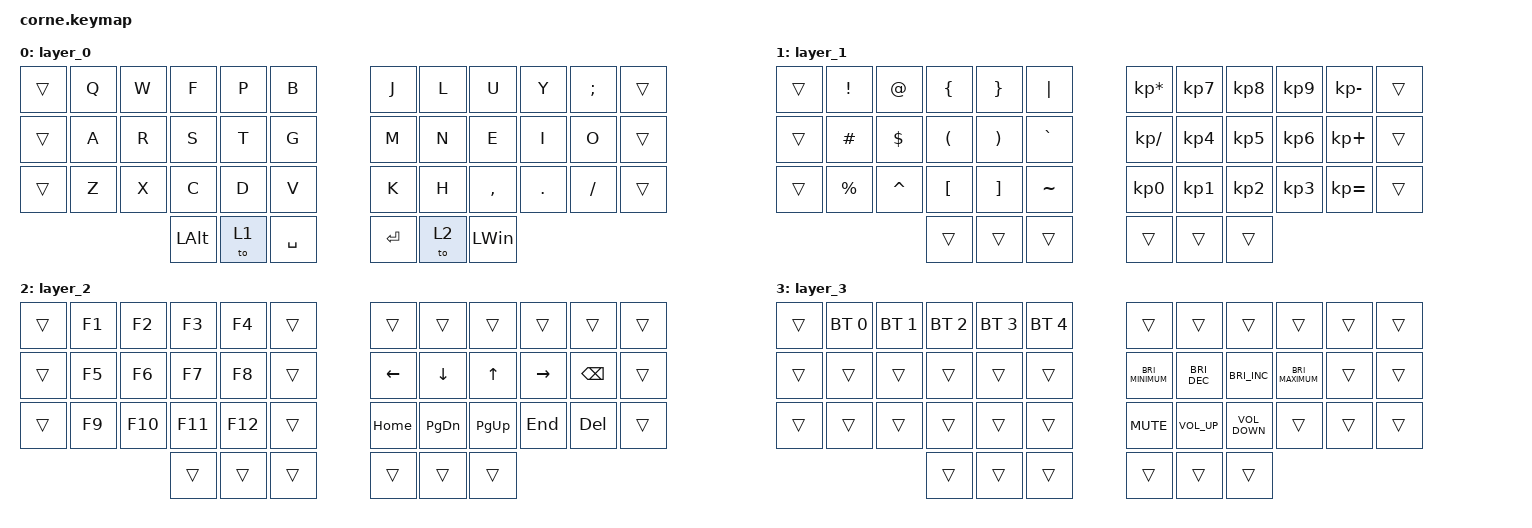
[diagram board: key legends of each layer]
/*
 * Copyright (c) 2020 The ZMK Contributors
 *
 * SPDX-License-Identifier: MIT
 */

#include <behaviors.dtsi>
#include <dt-bindings/zmk/bt.h>
#include <dt-bindings/zmk/keys.h>

/ {
    keymap {
        compatible = "zmk,keymap";

        layer_0 {
            bindings = <
&trans  &kp Q  &kp W  &kp F         &kp P  &kp B        &kp J      &kp L  &kp U         &kp Y    &kp SEMI  &trans
&trans  &kp A  &kp R  &kp S         &kp T  &kp G        &kp M      &kp N  &kp E         &kp I    &kp O     &trans
&trans  &kp Z  &kp X  &kp C         &kp D  &kp V        &kp K      &kp H  &kp COMMA     &kp DOT  &kp FSLH  &trans
                      &kp LEFT_ALT  &to 1  &kp SPACE    &kp ENTER  &to 2  &kp LEFT_WIN
            >;
        };

        layer_1 {
            bindings = <
&trans  &kp EXCL     &kp AT      &kp LEFT_BRACE        &kp RIGHT_BRACE        &kp PIPE     &kp KP_MULTIPLY  &kp KP_NUMBER_7  &kp KP_NUMBER_8  &kp KP_NUMBER_9  &kp KP_SUBTRACT  &trans
&trans  &kp HASH     &kp DOLLAR  &kp LEFT_PARENTHESIS  &kp RIGHT_PARENTHESIS  &kp GRAVE    &kp KP_DIVIDE    &kp KP_NUMBER_4  &kp KP_NUMBER_5  &kp KP_NUMBER_6  &kp KP_PLUS      &trans
&trans  &kp PERCENT  &kp CARET   &kp LEFT_BRACKET      &kp RIGHT_BRACKET      &kp TILDE    &kp KP_NUMBER_0  &kp KP_NUMBER_1  &kp KP_NUMBER_2  &kp KP_NUMBER_3  &kp KP_EQUAL     &trans
                                 &trans                &trans                 &trans       &trans           &trans           &trans
            >;
        };

        layer_2 {
            bindings = <
&trans  &kp F1  &kp F2   &kp F3   &kp F4   &trans    &trans    &trans         &trans       &trans     &trans         &trans
&trans  &kp F5  &kp F6   &kp F7   &kp F8   &trans    &kp LEFT  &kp DOWN       &kp UP       &kp RIGHT  &kp BACKSPACE  &trans
&trans  &kp F9  &kp F10  &kp F11  &kp F12  &trans    &kp HOME  &kp PAGE_DOWN  &kp PAGE_UP  &kp END    &kp DELETE     &trans
                         &trans   &trans   &trans    &trans    &trans         &trans
            >;
        };

        layer_3 {
            bindings = <
&trans  &bt BT_SEL 0  &bt BT_SEL 1  &bt BT_SEL 2  &bt BT_SEL 3  &bt BT_SEL 4    &trans                    &trans                &trans                &trans                    &trans  &trans
&trans  &trans        &trans        &trans        &trans        &trans          &kp C_BRIGHTNESS_MINIMUM  &kp C_BRIGHTNESS_DEC  &kp C_BRIGHTNESS_INC  &kp C_BRIGHTNESS_MAXIMUM  &trans  &trans
&trans  &trans        &trans        &trans        &trans        &trans          &kp C_MUTE                &kp C_VOLUME_UP       &kp C_VOLUME_DOWN     &trans                    &trans  &trans
                                    &trans        &trans        &trans          &trans                    &trans                &trans
            >;
        };
    };

    conditional_layers {
        compatible = "zmk,conditional-layers";

        Config {
            if-layers = <1 2>;
            then-layer = <3>;
        };
    };
};

&led_strip { chain-length = <27>; };
